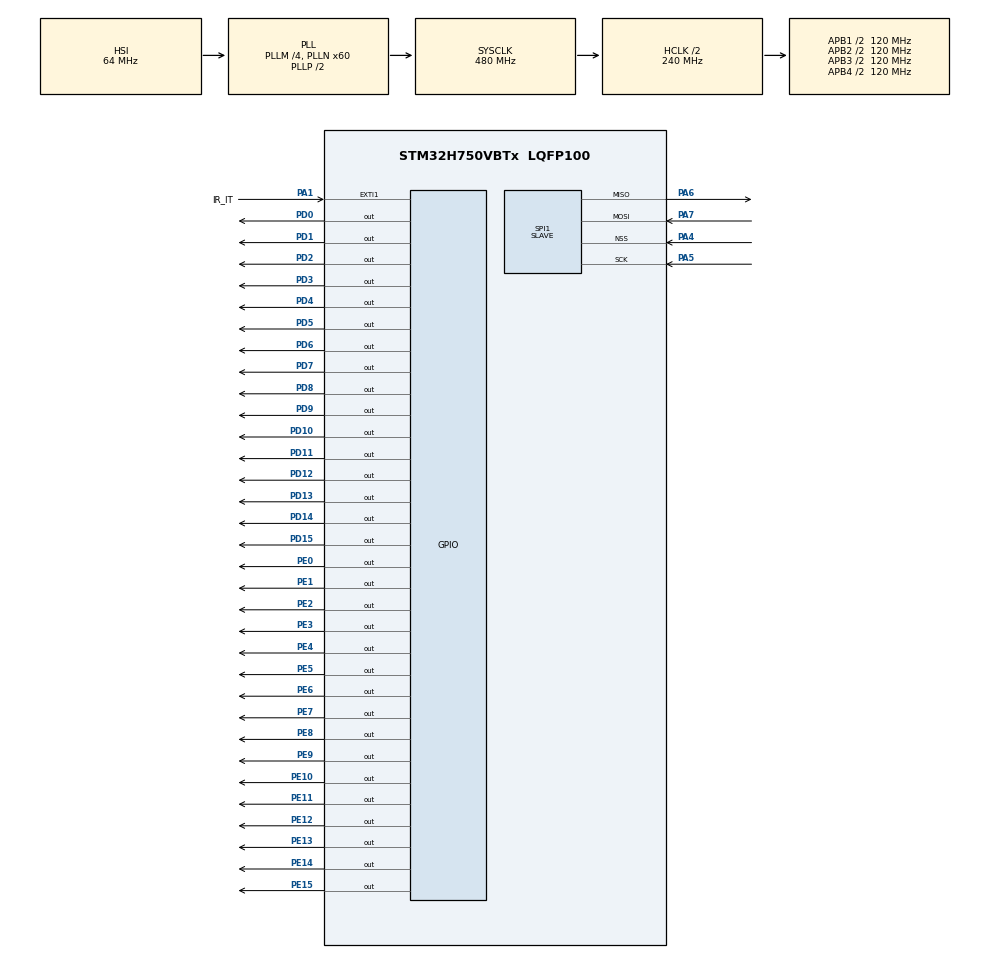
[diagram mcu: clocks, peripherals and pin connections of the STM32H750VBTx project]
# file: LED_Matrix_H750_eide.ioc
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CORTEX_M7.default_mode_Activation=1
Dma.Request0=TIM3_UP
Dma.Request1=TIM8_UP
Dma.TIM3_UP.0.Direction=DMA_MEMORY_TO_PERIPH
Dma.TIM3_UP.0.EventEnable=DISABLE
Dma.TIM3_UP.0.FIFOMode=DMA_FIFOMODE_DISABLE
Dma.TIM3_UP.0.Instance=DMA1_Stream0
Dma.TIM3_UP.0.MemDataAlignment=DMA_MDATAALIGN_HALFWORD
Dma.TIM3_UP.0.MemInc=DMA_MINC_ENABLE
Dma.TIM3_UP.0.Mode=DMA_NORMAL
Dma.TIM3_UP.0.PeriphDataAlignment=DMA_PDATAALIGN_HALFWORD
Dma.TIM3_UP.0.PeriphInc=DMA_PINC_DISABLE
Dma.TIM3_UP.0.Polarity=HAL_DMAMUX_REQ_GEN_RISING
Dma.TIM3_UP.0.Priority=DMA_PRIORITY_VERY_HIGH
Dma.TIM3_UP.0.RequestNumber=1
Dma.TIM3_UP.0.SignalID=NONE
Dma.TIM3_UP.0.SyncEnable=DISABLE
Dma.TIM3_UP.0.SyncPolarity=HAL_DMAMUX_SYNC_NO_EVENT
Dma.TIM3_UP.0.SyncRequestNumber=1
Dma.TIM3_UP.0.SyncSignalID=NONE
Dma.TIM8_UP.1.Direction=DMA_MEMORY_TO_PERIPH
Dma.TIM8_UP.1.EventEnable=DISABLE
Dma.TIM8_UP.1.FIFOMode=DMA_FIFOMODE_DISABLE
Dma.TIM8_UP.1.Instance=DMA1_Stream2
Dma.TIM8_UP.1.MemDataAlignment=DMA_MDATAALIGN_HALFWORD
Dma.TIM8_UP.1.MemInc=DMA_MINC_ENABLE
Dma.TIM8_UP.1.Mode=DMA_NORMAL
Dma.TIM8_UP.1.PeriphDataAlignment=DMA_PDATAALIGN_HALFWORD
Dma.TIM8_UP.1.PeriphInc=DMA_PINC_DISABLE
Dma.TIM8_UP.1.Polarity=HAL_DMAMUX_REQ_GEN_RISING
Dma.TIM8_UP.1.Priority=DMA_PRIORITY_VERY_HIGH
Dma.TIM8_UP.1.RequestNumber=1
Dma.TIM8_UP.1.SignalID=NONE
Dma.TIM8_UP.1.SyncEnable=DISABLE
Dma.TIM8_UP.1.SyncPolarity=HAL_DMAMUX_SYNC_NO_EVENT
Dma.TIM8_UP.1.SyncRequestNumber=1
Dma.TIM8_UP.1.SyncSignalID=NONE
Mcu.Family=STM32H7
Mcu.Name=STM32H750VBTx
Mcu.Package=LQFP100
NVIC.DMA1_Stream0_IRQn=true\:0\:0\:false\:false\:true\:false\:true\:true
NVIC.DMA1_Stream2_IRQn=true\:0\:0\:false\:false\:true\:false\:true\:true
NVIC.EXTI1_IRQn=true\:0\:0\:false\:false\:true\:true\:true\:true
NVIC.PriorityGroup=NVIC_PRIORITYGROUP_4
NVIC.SPI1_IRQn=true\:0\:0\:false\:false\:true\:true\:true\:true
NVIC.TIM2_IRQn=true\:0\:0\:false\:false\:true\:true\:true\:true
PA1.GPIO_Label=IR_IT
PA1.GPIO_ModeDefaultEXTI=GPIO_MODE_IT_RISING
PA1.Signal=GPXTI1
PA13\ (JTMS/SWDIO).Mode=Serial_Wire
PA13\ (JTMS/SWDIO).Signal=DEBUG_JTMS-SWDIO
PA14\ (JTCK/SWCLK).Mode=Serial_Wire
PA14\ (JTCK/SWCLK).Signal=DEBUG_JTCK-SWCLK
PA4.GPIO_Speed=GPIO_SPEED_FREQ_HIGH
PA4.Mode=NSS_Signal_Hard_Input
PA4.Signal=SPI1_NSS
PA5.GPIO_Speed=GPIO_SPEED_FREQ_HIGH
PA5.Mode=Full_Duplex_Slave
PA5.Signal=SPI1_SCK
PA6.GPIO_Speed=GPIO_SPEED_FREQ_HIGH
PA6.Mode=Full_Duplex_Slave
PA6.Signal=SPI1_MISO
PA7.GPIO_Speed=GPIO_SPEED_FREQ_HIGH
PA7.Mode=Full_Duplex_Slave
PA7.Signal=SPI1_MOSI
PD0.GPIO_Speed=GPIO_SPEED_FREQ_VERY_HIGH
PD0.Signal=GPIO_Output
PD1.GPIO_Speed=GPIO_SPEED_FREQ_VERY_HIGH
PD1.Signal=GPIO_Output
PD10.GPIO_Speed=GPIO_SPEED_FREQ_VERY_HIGH
PD10.Signal=GPIO_Output
PD11.GPIO_Speed=GPIO_SPEED_FREQ_VERY_HIGH
PD11.Signal=GPIO_Output
PD12.GPIO_Speed=GPIO_SPEED_FREQ_VERY_HIGH
PD12.Signal=GPIO_Output
PD13.GPIO_Speed=GPIO_SPEED_FREQ_VERY_HIGH
PD13.Signal=GPIO_Output
PD14.GPIO_Speed=GPIO_SPEED_FREQ_VERY_HIGH
PD14.Signal=GPIO_Output
PD15.GPIO_Speed=GPIO_SPEED_FREQ_VERY_HIGH
PD15.Signal=GPIO_Output
PD2.GPIO_Speed=GPIO_SPEED_FREQ_VERY_HIGH
PD2.Signal=GPIO_Output
PD3.GPIO_Speed=GPIO_SPEED_FREQ_VERY_HIGH
PD3.Signal=GPIO_Output
PD4.GPIO_Speed=GPIO_SPEED_FREQ_VERY_HIGH
PD4.Signal=GPIO_Output
PD5.GPIO_Speed=GPIO_SPEED_FREQ_VERY_HIGH
PD5.Signal=GPIO_Output
PD6.GPIO_Speed=GPIO_SPEED_FREQ_VERY_HIGH
PD6.Signal=GPIO_Output
PD7.GPIO_Speed=GPIO_SPEED_FREQ_VERY_HIGH
PD7.Signal=GPIO_Output
PD8.GPIO_Speed=GPIO_SPEED_FREQ_VERY_HIGH
PD8.Signal=GPIO_Output
PD9.GPIO_Speed=GPIO_SPEED_FREQ_VERY_HIGH
PD9.Signal=GPIO_Output
PE0.GPIO_Speed=GPIO_SPEED_FREQ_VERY_HIGH
PE0.Signal=GPIO_Output
PE1.GPIO_Speed=GPIO_SPEED_FREQ_VERY_HIGH
PE1.Signal=GPIO_Output
PE10.GPIO_Speed=GPIO_SPEED_FREQ_VERY_HIGH
PE10.Signal=GPIO_Output
PE11.GPIO_Speed=GPIO_SPEED_FREQ_VERY_HIGH
PE11.Signal=GPIO_Output
PE12.GPIO_Speed=GPIO_SPEED_FREQ_VERY_HIGH
PE12.Signal=GPIO_Output
PE13.GPIO_Speed=GPIO_SPEED_FREQ_VERY_HIGH
PE13.Signal=GPIO_Output
PE14.GPIO_Speed=GPIO_SPEED_FREQ_VERY_HIGH
PE14.Signal=GPIO_Output
PE15.GPIO_Speed=GPIO_SPEED_FREQ_VERY_HIGH
PE15.PinState=GPIO_PIN_SET
PE15.Signal=GPIO_Output
PE2.GPIO_Speed=GPIO_SPEED_FREQ_VERY_HIGH
PE2.Signal=GPIO_Output
PE3.GPIO_Speed=GPIO_SPEED_FREQ_VERY_HIGH
PE3.Signal=GPIO_Output
PE4.GPIO_Speed=GPIO_SPEED_FREQ_VERY_HIGH
PE4.Signal=GPIO_Output
PE5.GPIO_Speed=GPIO_SPEED_FREQ_VERY_HIGH
PE5.Signal=GPIO_Output
PE6.GPIO_Speed=GPIO_SPEED_FREQ_VERY_HIGH
PE6.Signal=GPIO_Output
PE7.GPIO_Speed=GPIO_SPEED_FREQ_VERY_HIGH
PE7.Signal=GPIO_Output
PE8.GPIO_Speed=GPIO_SPEED_FREQ_VERY_HIGH
PE8.Signal=GPIO_Output
PE9.GPIO_Speed=GPIO_SPEED_FREQ_VERY_HIGH
PE9.Signal=GPIO_Output
ProjectManager.HeapSize=0x200
ProjectManager.StackSize=0x400
ProjectManager.TargetToolchain=MDK-ARM V5.32
RCC.ADCFreq_Value=129000000
RCC.APB1Freq_Value=120000000
RCC.APB2Freq_Value=120000000
RCC.APB3Freq_Value=120000000
RCC.APB4Freq_Value=120000000
RCC.CortexFreq_Value=480000000
RCC.D1PPRE=RCC_APB3_DIV2
RCC.D2PPRE1=RCC_APB1_DIV2
RCC.D2PPRE2=RCC_APB2_DIV2
RCC.D3PPRE=RCC_APB4_DIV2
RCC.DIVM1=4
RCC.DIVN1=60
RCC.DIVQ1=5
RCC.HCLKFreq_Value=240000000
RCC.HPRE=RCC_HCLK_DIV2
RCC.HSE_VALUE=12000000
RCC.PLLFRACN=0
RCC.SYSCLKFreq_VALUE=480000000
RCC.SYSCLKSource=RCC_SYSCLKSOURCE_PLLCLK
RCC.USBFreq_Value=192000000
SPI1.CRCCalculation=SPI_CRCCALCULATION_DISABLE
SPI1.DataSize=SPI_DATASIZE_16BIT
SPI1.Direction=SPI_DIRECTION_2LINES
SPI1.Mode=SPI_MODE_SLAVE
SPI1.VirtualNSS=VM_NSSHARD
SPI1.VirtualType=VM_SLAVE
TIM2.AutoReloadPreload=TIM_AUTORELOAD_PRELOAD_ENABLE
TIM2.Period=999999
TIM2.Prescaler=239
TIM3.AutoReloadPreload=TIM_AUTORELOAD_PRELOAD_ENABLE
TIM3.Period=71
TIM3.TIM_MasterOutputTrigger=TIM_TRGO_UPDATE
TIM8.AutoReloadPreload=TIM_AUTORELOAD_PRELOAD_ENABLE
TIM8.Period=71
TIM8.TIM_MasterOutputTrigger=TIM_TRGO_UPDATE
VP_MEMORYMAP_VS_MEMORYMAP.Mode=CurAppReg
VP_TIM2_VS_ClockSourceINT.Mode=Internal
VP_TIM3_VS_ClockSourceINT.Mode=Internal
VP_TIM8_VS_ClockSourceINT.Mode=Internal
board=custom

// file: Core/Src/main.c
/* USER CODE BEGIN Header */
/**
  ******************************************************************************
  * @file           : main.c
  * @brief          : Main program body
  ******************************************************************************
  * @attention
  *
  * Copyright (c) 2026 STMicroelectronics.
  * All rights reserved.
  *
  * This software is licensed under terms that can be found in the LICENSE file
  * in the root directory of this software component.
  * If no LICENSE file comes with this software, it is provided AS-IS.
  *
  ******************************************************************************
  */
/* USER CODE END Header */
#include "main.h"
#include "dma.h"
#include "spi.h"
#include "tim.h"
#include "gpio.h"

/* USER CODE BEGIN Includes */
#include "tim.h"
#include "led_matrix.h"
#include <math.h>
  extern DMA_HandleTypeDef hdma_tim3_up;
  extern DMA_HandleTypeDef hdma_tim8_up;
/* USER CODE END Includes */

/* USER CODE BEGIN PV */
uint8_t currentFrame = 0;       // 当前显示的帧索引 (0-119)
uint8_t refreshFlag = 0;        // 刷新标志，中断触发时设置为1
uint8_t isRefreshing = 0;       // 正在刷新中标志
uint32_t lastIrqTime = 0;       // 上次中断触发时间戳（用于20ms屏蔽）
#define DEBOUNCE_TIME 20         // 触发后屏蔽时间（毫秒）
uint8_t animationFrame = 0;     // 动画帧计数器，用于逐帧显示
uint32_t lastTriggerTime = 0;   // 上次有效中断触发时间（用于计算间隔）
uint32_t irqInterval = 1000;    // 两次中断的时间间隔（毫秒），初始1秒
#define TIM2_CLOCK 1000000       // TIM2经过PSC后的时钟频率（1MHz）
#define FRAME_COUNT (RAW_BUFFER_CYLINDER_NUM * 2)  // 动画总帧数（64帧完成一圈）

// 用于计算平均值的历史数据
#define SAMPLE_COUNT 10          // 取前50次的平均值
uint32_t intervalHistory[50]; // 存储最近50次中断间隔
uint8_t historyIndex = 0;        // 当前存储位置索引
uint8_t sampleCount = 0;         // 当前已有样本数量

typedef enum {
  PATTERN_TEXT = 0,
  PATTERN_CUBE = 1,
  PATTERN_SPHERE = 2,
  PATTERN_DOUBLE_HELIX = 3,
  PATTERN_SATURN = 4,
  PATTERN_RUNNER = 5,
  PATTERN_BIRDCAGE = 6
} PatternType;

static PatternType g_pattern = PATTERN_TEXT;
static const float kHeightToWidth = 2.0f;
static const PatternType kPatternCycle[] = {PATTERN_TEXT, PATTERN_CUBE, PATTERN_SPHERE, PATTERN_DOUBLE_HELIX, PATTERN_SATURN, PATTERN_RUNNER, PATTERN_BIRDCAGE};
static uint8_t g_patternIndex = 0;
static uint32_t g_lastPatternTick = 0;
static uint32_t g_lastFrameTick = 0;
static float g_cubeAngle = 0.0f;
static const float kCubeAngleStep = 0.1745329f;
uint8_t g_brightShift = 6;

// SPI 接收相关
#define SPI_RX_BUFFER_SIZE 10
uint8_t g_spi_rx_buffer[SPI_RX_BUFFER_SIZE];
uint8_t g_spi_rx_flag = 0; // 收到了数据的标志位

/*
注意，当前的显示器设计是RAW_BUFFER_CYLINDER_NUM个RAW切片，每个切片内包含两个数组，分别在各自对面，

这个体积显示器是对称的两个半柱面，所以每个RAW切片的数据会被转换成两个DMA切片，分别输出到GPIOD和GPIOE。
所有RAW切片遍历完一次后，显示器其实只转过了半圈，这时就要调换RAW切片下的AB输出方向，将D和E对调，重新输出。
此外，GPIO下的16个IO对应的是从上到下的16行，每一行里的16个灯对应的是从外到内的16列，所以数组末尾的灯是最内侧的灯。
特别提示，当前每一个像素都是等距分布，也就是说，两个柱面会把图像拉伸。例如要显示正方形，每个半柱面的高是宽的两倍
*/
/* USER CODE END PV */

void SystemClock_Config(void);
static void MPU_Config(void);

/* USER CODE BEGIN 0 */

void HAL_SPI_RxCpltCallback(SPI_HandleTypeDef *hspi) {
  if (hspi->Instance == SPI1) {
    // 标记接收到了数据
    g_spi_rx_flag = 1;

    // 你可以在这里处理 g_spi_rx_buffer 中的数据
    // 例如：判断特定指令，切换模式，等等

    // 重新开启下一次接收
    HAL_SPI_Receive_IT(&hspi1, g_spi_rx_buffer, SPI_RX_BUFFER_SIZE);
  }
}

static uint32_t ledRainbowColor(float phase){
  float r = sinf(phase) * 0.5f + 0.5f;
  float g = sinf(phase + 2.0943951f) * 0.5f + 0.5f;
  float b = sinf(phase + 4.1887902f) * 0.5f + 0.5f;

  uint8_t red = (uint8_t)(r * 255.0f);
  uint8_t green = (uint8_t)(g * 255.0f);
  uint8_t blue = (uint8_t)(b * 255.0f);

  return ((uint32_t)red << 16) | ((uint32_t)green << 8) | blue;
}

static void ledBuildPatternFrames(PatternType pattern){
  memFrameRaw *fillRaw = ledGetFillRaw();

  for (int frameIdx = 0; frameIdx < RAW_BUFFER_CYLINDER_NUM; frameIdx++) {
    ledBufferClearRaw(fillRaw[frameIdx].ledBufferRawA);
    ledBufferClearRaw(fillRaw[frameIdx].ledBufferRawB);

    switch (pattern) {
      case PATTERN_TEXT: {
        // ========== 0. 静态 A2JY09（正反两面各一个） ==========
        const uint8_t font[6][7] = {
          {0x0E, 0x11, 0x11, 0x1F, 0x11, 0x11, 0x11}, // A
          {0x0E, 0x11, 0x02, 0x04, 0x08, 0x10, 0x1F}, // 2
          {0x07, 0x01, 0x01, 0x01, 0x11, 0x11, 0x0E}, // J
          {0x11, 0x11, 0x0A, 0x04, 0x04, 0x04, 0x04}, // Y
          {0x0E, 0x11, 0x13, 0x15, 0x19, 0x11, 0x0E}, // 0
          {0x0E, 0x11, 0x11, 0x0F, 0x01, 0x11, 0x0E}  // 9
        };
        // A面居中: (64-42)/2=11, B面居中: 64+11=75
        int startA = 11, startB = RAW_BUFFER_CYLINDER_NUM + 11;
        int colA = frameIdx;
        int colB = frameIdx + RAW_BUFFER_CYLINDER_NUM;
        for (int io = 0; io < 16; io++) {
          int row = io - 4;
          if (row >= 0 && row < 7) {
            // A面
            int rel_A = colA - startA;
            if (rel_A >= 0 && rel_A < 42) {
              int char_idx = rel_A / 7;
              int x = rel_A % 7;
              if (x < 5 && (font[char_idx][row] & (1 << (4 - x)))) {
                uint32_t color = ledRainbowColor((float)char_idx * 0.8f);
                for (int depth = 0; depth < 3; depth++)
                  ledSetColorOneRaw(fillRaw[frameIdx].ledBufferRawA, depth, io, color);
              }
            }
            // B面 — 同样位置在B侧的偏移
            int rel_B = colB - startB;
            if (rel_B >= 0 && rel_B < 42) {
              int char_idx = rel_B / 7;
              int x = rel_B % 7;
              if (x < 5 && (font[char_idx][row] & (1 << (4 - x)))) {
                uint32_t color = ledRainbowColor((float)char_idx * 0.8f);
                for (int depth = 0; depth < 3; depth++)
                  ledSetColorOneRaw(fillRaw[frameIdx].ledBufferRawB, depth, io, color);
              }
            }
          }
        }
        break;
      }
      case PATTERN_CUBE: {
        // ========== 1. 旋转的渐变立方体 ==========
        const float cubeHalf = 0.75f;
        float theta = g_cubeAngle + (3.1415926f * (float)frameIdx) / (float)RAW_BUFFER_CYLINDER_NUM;
        float c = cosf(theta);
        float s = sinf(theta);
        for (int ledPos = 0; ledPos < ONE_BUS_LED_NUM; ledPos++) {
          float r = 1.0f - ((float)ledPos / 15.0f);
          float x = r * c;
          float y = r * s;
          float ax = fabsf(x);
          float ay = fabsf(y);
          for (int io = 0; io < 16; io++) {
            float z = 1.0f - (2.0f * ((float)io / 15.0f));
            float az = fabsf(z) / kHeightToWidth;
            if ((ax <= cubeHalf) && (ay <= cubeHalf) && (az <= cubeHalf)) {
              float phase = g_cubeAngle + (float)frameIdx * 0.12f + (float)ledPos * 0.35f + (float)io * 0.22f;
              uint32_t color = ledRainbowColor(phase);
              ledSetColorOneRaw(fillRaw[frameIdx].ledBufferRawA, ledPos, io, color);
              ledSetColorOneRaw(fillRaw[frameIdx].ledBufferRawB, ledPos, io, color);
            }
          }
        }
        break;
      }
      case PATTERN_SPHERE: {
        // ========== 2. 旋转的渐变球体 ==========
        const float radius = 0.70f;
        float theta = g_cubeAngle + (3.1415926f * (float)frameIdx) / (float)RAW_BUFFER_CYLINDER_NUM;
        float c = cosf(theta);
        float s = sinf(theta);
        for (int ledPos = 0; ledPos < ONE_BUS_LED_NUM; ledPos++) {
          float r = 1.0f - ((float)ledPos / 15.0f);
          float x = r * c;
          float y = r * s;
          for (int io = 0; io < 16; io++) {
            float z = 1.0f - (2.0f * ((float)io / 15.0f));
            float z_adj = z / kHeightToWidth;
            float dist = sqrtf(x*x + y*y + z_adj*z_adj);
            if (dist <= radius) {
              float phase = dist * 4.0f - g_cubeAngle * 2.0f; // 颜色呈同心圆扩散
              uint32_t color = ledRainbowColor(phase);
              ledSetColorOneRaw(fillRaw[frameIdx].ledBufferRawA, ledPos, io, color);
              ledSetColorOneRaw(fillRaw[frameIdx].ledBufferRawB, ledPos, io, color);
            }
          }
        }
        break;
      }
      case PATTERN_DOUBLE_HELIX: {
        // ========== 3. 双螺旋 (DNA结构) ==========
        float theta = (3.1415926f * (float)frameIdx) / (float)RAW_BUFFER_CYLINDER_NUM;
        for (int io = 0; io < 16; io++) {
          float z = 1.0f - (2.0f * ((float)io / 15.0f));
          // 螺旋的两个极角（高度相关并随着时间旋转）
          float angle1 = z * 3.1415926f + g_cubeAngle * 2.0f;
          float angle2 = angle1 + 3.1415926f; // 对侧螺旋

          for (int ledPos = 0; ledPos < ONE_BUS_LED_NUM; ledPos++) {
            float r = 1.0f - ((float)ledPos / 15.0f);

            // 将点所在的空间角 theta 与两组螺旋角做差
            float d1 = fabsf(sinf((theta - angle1) / 2.0f));
            float d2 = fabsf(sinf((theta - angle2) / 2.0f));

            // 半径在0.6~0.8附近，且角度逼近螺旋角的轨迹被点亮
            if ((r > 0.6f && r < 0.8f) && (d1 < 0.15f || d2 < 0.15f)) {
              float phase = z * 2.0f + g_cubeAngle;
              uint32_t color = ledRainbowColor(phase);
              ledSetColorOneRaw(fillRaw[frameIdx].ledBufferRawA, ledPos, io, color);
              ledSetColorOneRaw(fillRaw[frameIdx].ledBufferRawB, ledPos, io, color);
            }
          }
        }
        break;
      }
      case PATTERN_SATURN: {
        // ========== 4. 行星+光环整体倾斜旋转 ==========
        float tilt = sinf(g_cubeAngle * 0.5f) * 0.75f;
        float ct = cosf(tilt);
        float st = sinf(tilt);
        // A面角度，B面 = A面 + 180°（绕 Z 翻转）
        float thetaA = g_cubeAngle + (3.1415926f * (float)frameIdx) / (float)RAW_BUFFER_CYLINDER_NUM;
        float thetaB = thetaA + 3.1415926f;
        float cA = cosf(thetaA), sA = sinf(thetaA);
        float cB = cosf(thetaB), sB = sinf(thetaB);
        for (int ledPos = 0; ledPos < ONE_BUS_LED_NUM; ledPos++) {
          float r = 1.0f - ((float)ledPos / 15.0f);
          for (int io = 0; io < 16; io++) {
            float z = 1.0f - (2.0f * ((float)io / 15.0f));
            float z_adj = z / kHeightToWidth;
            // ===== A 面 =====
            float xA = r * cA, yA = r * sA;
            float yrA = yA * ct - z_adj * st;
            float zrA = yA * st + z_adj * ct;
            float dist_bodyA = sqrtf(xA * xA + yrA * yrA + zrA * zrA);
            if (dist_bodyA <= 0.35f) {
              float phase = atan2f(yrA, xA) * 2.0f + zrA * 2.0f + g_cubeAngle;
              uint32_t color = ledRainbowColor(phase);
              ledSetColorOneRaw(fillRaw[frameIdx].ledBufferRawA, ledPos, io, color);
            }
            float dist_ringA = sqrtf(xA * xA + yrA * yrA);
            if (dist_ringA >= 0.45f && dist_ringA <= 0.80f && fabsf(zrA) <= 0.10f) {
              float phase = dist_ringA * 5.0f + g_cubeAngle * 2.0f;
              uint32_t color = ledRainbowColor(phase);
              ledSetColorOneRaw(fillRaw[frameIdx].ledBufferRawA, ledPos, io, color);
            }
            // ===== B 面（绕 Z 轴旋转 180° → 显示背面） =====
            float xB = r * cB, yB = r * sB;
            float yrB = yB * ct - z_adj * st;
            float zrB = yB * st + z_adj * ct;
            float dist_bodyB = sqrtf(xB * xB + yrB * yrB + zrB * zrB);
            if (dist_bodyB <= 0.35f) {
              float phase = atan2f(yrB, xB) * 2.0f + zrB * 2.0f + g_cubeAngle;
              uint32_t color = ledRainbowColor(phase);
              ledSetColorOneRaw(fillRaw[frameIdx].ledBufferRawB, ledPos, io, color);
            }
            float dist_ringB = sqrtf(xB * xB + yrB * yrB);
            if (dist_ringB >= 0.45f && dist_ringB <= 0.80f && fabsf(zrB) <= 0.10f) {
              float phase = dist_ringB * 5.0f + g_cubeAngle * 2.0f;
              uint32_t color = ledRainbowColor(phase);
              ledSetColorOneRaw(fillRaw[frameIdx].ledBufferRawB, ledPos, io, color);
            }
          }
        }
        break;
      }
      case PATTERN_RUNNER: {
        // ========== 5. 开合跳 ==========
        float phase = g_cubeAngle * 1.8f;
        float spread = fabsf(sinf(phase));
        float bounce = spread * 0.04f;
        float bodyR = 0.62f, bodyZ = -0.02f;
        float hz = 0.40f + bounce, hr2 = 0.012f;
        float nz = 0.30f + bounce, hpz = -0.14f + bounce;
        float lhx = 0.06f + spread*0.18f, lhz = 0.02f + spread*0.20f;
        float rhx = -0.06f - spread*0.18f, rhz = 0.02f + spread*0.20f;
        float lfx = 0.04f + spread*0.12f, lfz = -0.42f + bounce*0.5f;
        float rfx = -0.04f - spread*0.12f, rfz = -0.42f + bounce*0.5f;
        struct { float ax,ay,az, bx,by,bz; } segs[] = {
          {0,0,nz, 0,0,hpz},
          {0.06f,0,0.26f+bounce, lhx,0,lhz}, {-0.06f,0,0.26f+bounce, rhx,0,rhz},
          {0.04f,0,-0.12f+bounce, lfx,0,lfz}, {-0.04f,0,-0.12f+bounce, rfx,0,rfz},
        };
        // 小人固定在正前方 π/2，不随 frameIdx 移动
        float figAng = 1.5707963f; // π/2
        float cx = bodyR * cosf(figAng);
        float cy = bodyR * sinf(figAng);
        float csA = cosf(figAng), snA = sinf(figAng);
        float theta = (3.1415926f * (float)frameIdx) / (float)RAW_BUFFER_CYLINDER_NUM;
        float ct = cosf(theta), stt = sinf(theta);
        for (int ledPos = 0; ledPos < ONE_BUS_LED_NUM; ledPos++) {
          float r  = 1.0f - ((float)ledPos / 15.0f);
          float px = r * ct, py = r * stt;
          for (int io = 0; io < 16; io++) {
            float pz = (1.0f - (2.0f * ((float)io / 15.0f))) / kHeightToWidth;
            float dx = px - cx, dy = py - cy;
            float lx = -dx*snA + dy*csA;
            float ly =  dx*csA + dy*snA;
            float lz = pz - bodyZ;
            int hit = 0;
            if (lx*lx+ly*ly+(lz-hz)*(lz-hz) <= hr2) hit = 1;
            if (!hit) {
              for (int i = 0; i < 5; i++) {
                float da = segs[i].bx-segs[i].ax, db = segs[i].by-segs[i].ay, dc = segs[i].bz-segs[i].az;
                float len2 = da*da+db*db+dc*dc;
                float t = ((lx-segs[i].ax)*da+(ly-segs[i].ay)*db+(lz-segs[i].az)*dc)/(len2+0.0001f);
                if (t<0.0f)t=0.0f; if(t>1.0f)t=1.0f;
                float scx=segs[i].ax+t*da, scy=segs[i].ay+t*db, scz=segs[i].az+t*dc;
                if ((lx-scx)*(lx-scx)+(ly-scy)*(ly-scy)+(lz-scz)*(lz-scz)<=0.008f) { hit=1; break; }
              }
            }
            if (hit) {
              ledSetColorOneRaw(fillRaw[frameIdx].ledBufferRawA, ledPos, io,
                ledRainbowColor(g_cubeAngle + (float)io * 0.3f));
            }
          }
        }
        break;
      }
      case PATTERN_BIRDCAGE: {
        // ========== 6. 大鹏展翅 ==========
        float S=1.60f,phase=g_cubeAngle*2.8f;
        float sn=sinf(phase);
        float flU=sn>0?sn:0, flD=sn<0?sn:0; // 上/下非对称
        float My=0.30f, Ty=0.24f+flD*0.12f;  // 翼中/尖 y
        float Mz=0.16f+flU*0.02f+flD*0.06f;  // 翼中 z
        float Tz=0.16f+flU*0.06f+flD*0.50f;  // 翼尖 z (大幅)
        // 19段: 体6+喙2+左翼4+右翼4+尾3
        // 每段:{bx,by,bz, ex,ey,ez}
        float seg[][6]={
          // 体 (0-5)
          {-0.20f,0,-0.02f, 0.10f,0,-0.02f},   // 脊线
          {0.10f,0,-0.02f,-0.06f,0, 0.04f},     // 背弧
          {-0.20f,0,-0.02f,-0.06f,0,-0.10f},    // 腹弧
          {0.10f,0,-0.02f, 0.05f,0,-0.08f},     // 胸
          {0.10f,0,-0.02f, 0.20f,0, 0.03f},     // 颈
          {-0.06f,0,-0.02f, 0.05f,0.08f, 0.03f},// 体侧R
          // 喙 (6-7)
          {0.30f,0, 0.05f, 0.48f,0, 0.12f},     // 上喙
          {0.30f,0, 0.02f, 0.44f,0, 0.07f},     // 下喙
          // 左翼 (8-11)
          {0.02f,0,0, 0.0f, My,Mz},              // L1根→中
          {0.0f,My,Mz, -0.12f, Ty,Tz},           // L1中→尖
          {0.02f,0,0, 0.0f, My+0.06f,Mz},        // L2根→中
          {0.0f,My+0.06f,Mz, -0.12f, Ty+0.06f,Tz},// L2中→尖
          // 右翼 (12-15) y 取反
          {0.02f,0,0, 0.0f,-My,Mz},
          {0.0f,-My,Mz, -0.12f,-Ty,Tz},
          {0.02f,0,0, 0.0f,-(My+0.06f),Mz},
          {0.0f,-(My+0.06f),Mz, -0.12f,-(Ty+0.06f),Tz},
          // 尾 (16-18)
          {-0.20f,0,-0.02f,-0.36f,0,0},
          {-0.20f,0,-0.02f,-0.32f, 0.10f,0.04f},
          {-0.20f,0,-0.02f,-0.32f,-0.10f,0.04f},
        };
        int nS=19; float hR2=0.008f, wTh2=0.012f, bTh2=0.007f;
        int showWings=((int)(g_cubeAngle/6.2831852f)&1)==0; // 隔圈显翅
        float th=(3.1415926f*(float)frameIdx)/(float)RAW_BUFFER_CYLINDER_NUM;
        float ct=cosf(th),st=sinf(th);
        for(int ledPos=0;ledPos<ONE_BUS_LED_NUM;ledPos++){
          float r=1.0f-((float)ledPos/15.0f),px=r*ct,py=r*st;
          for(int io=0;io<16;io++){
            float pz=(1.0f-(2.0f*((float)io/15.0f)))/kHeightToWidth;
            // A面
            float sx=px/S,sy=py/S,sz=pz/S;
            int hA=0;
            if(sx*sx+sy*sy+(sz-0.04f)*(sz-0.04f)<=hR2)hA=1;
            if(!hA&&(sx-0.30f)*(sx-0.30f)+sy*sy+(sz-0.08f)*(sz-0.08f)<=0.0012f)hA=1;
            if(!hA)for(int i=0;i<nS;i++){
              if(!showWings&&i>=8&&i<=15)continue;
              float th2=(i<8||i>=16)?bTh2:wTh2;
              float*ss=seg[i];
              float da=ss[3]-ss[0],db=ss[4]-ss[1],dc=ss[5]-ss[2],len2=da*da+db*db+dc*dc;
              float t=((sx-ss[0])*da+(sy-ss[1])*db+(sz-ss[2])*dc)/(len2+0.0001f);
              if(t<0)t=0;if(t>1)t=1;
              float cx=ss[0]+t*da,cy=ss[1]+t*db,cz=ss[2]+t*dc;
              if((sx-cx)*(sx-cx)+(sy-cy)*(sy-cy)+(sz-cz)*(sz-cz)<=th2){hA=1;break;}
            }
            if(hA)ledSetColorOneRaw(fillRaw[frameIdx].ledBufferRawA,ledPos,io,0xFFFFFF);
            // B面(背面)
            float sbx=-sx,sby=-sy,sbz=sz;
            int hB=0;
            if(sbx*sbx+sby*sby+(sbz-0.04f)*(sbz-0.04f)<=hR2)hB=1;
            if(!hB&&(sbx-0.30f)*(sbx-0.30f)+sby*sby+(sbz-0.08f)*(sbz-0.08f)<=0.0012f)hB=1;
            if(!hB)for(int i=0;i<nS;i++){
              if(!showWings&&i>=8&&i<=15)continue;
              float th2=(i<8||i>=16)?bTh2:wTh2;
              float*ss=seg[i];
              float da=ss[3]-ss[0],db=ss[4]-ss[1],dc=ss[5]-ss[2],len2=da*da+db*db+dc*dc;
              float t=((sbx-ss[0])*da+(sby-ss[1])*db+(sbz-ss[2])*dc)/(len2+0.0001f);
              if(t<0)t=0;if(t>1)t=1;
              float cx=ss[0]+t*da,cy=ss[1]+t*db,cz=ss[2]+t*dc;
              if((sbx-cx)*(sbx-cx)+(sby-cy)*(sby-cy)+(sbz-cz)*(sbz-cz)<=th2){hB=1;break;}
            }
            if(hB)ledSetColorOneRaw(fillRaw[frameIdx].ledBufferRawB,ledPos,io,0xFFFFFF);
          }
        }
        break;
      }
      default:
        break;
    }
  }

  ledSwapRawBuffers();

  memFrameRaw *renderRaw = ledGetRenderRaw();
  for (int i = 0; i < DMA_BUFFER_CYLINDER_NUM; i++) {
    ledBufferClearDma(FrameDmaA[i].ledBufferDmaA);
    ledBufferClearDma(FrameDmaA[i].ledBufferDmaB);
    ledBufferRawToDma(&FrameDmaA[i], &renderRaw[i]);

    ledBufferClearDma(FrameDmaB[i].ledBufferDmaA);
    ledBufferClearDma(FrameDmaB[i].ledBufferDmaB);
    ledBufferRawToDma(&FrameDmaB[i], &renderRaw[i + DMA_BUFFER_CYLINDER_NUM]);
  }
}

/* USER CODE END 0 */

int main(void)
{

  /* MPU Configuration--------------------------------------------------------*/
  MPU_Config();

  /* MCU Configuration--------------------------------------------------------*/

  /* Reset of all peripherals, Initializes the Flash interface and the Systick. */
  HAL_Init();

  /* Configure the system clock */
  SystemClock_Config();

  /* Initialize all configured peripherals */
  MX_GPIO_Init();
  MX_DMA_Init();
  MX_TIM3_Init();
  MX_TIM2_Init();
  MX_TIM8_Init();
  MX_SPI1_Init();
  /* USER CODE BEGIN 2 */

  uint16_t g_led_frame[20]={0x0000,0xFFFF,0x0000,0xFFFF,0x0000,0xFFFF,0x0000,0xFFFF,0x0000,0xFFFF,0x0000,0xFFFF,0x0000,0xFFFF,0x0000,0xFFFF,0x0000,0xFFFF,0x0000};

  // 配置DMA回调函数（可选，但建议）
  hdma_tim3_up.XferErrorCallback = Error_Handler;
  hdma_tim8_up.XferErrorCallback = Error_Handler;

  // 启动定时器（必须）
  HAL_TIM_Base_Start(&htim3);
  HAL_TIM_Base_Start(&htim8);
  HAL_TIM_Base_Start_IT(&htim2);

  // 使能定时器DMA请求（必须）
  __HAL_TIM_ENABLE_DMA(&htim3, TIM_DMA_UPDATE);
  __HAL_TIM_ENABLE_DMA(&htim8, TIM_DMA_UPDATE);

  // 初始化LED缓冲区
  ledBufferInit();

  g_patternIndex = 0;
  g_pattern = kPatternCycle[g_patternIndex];
  ledBuildPatternFrames(g_pattern);
  g_lastFrameTick = HAL_GetTick();
  g_lastPatternTick = g_lastFrameTick;

  // 启动第一次 SPI 接收中断
  HAL_SPI_Receive_IT(&hspi1, g_spi_rx_buffer, SPI_RX_BUFFER_SIZE);

  /* USER CODE END 2 */

  /* Infinite loop */
  /* USER CODE BEGIN WHILE */
  while (1)
  {
    uint32_t now = HAL_GetTick();
    if ((now - g_lastFrameTick) >= 50) {
      g_cubeAngle += kCubeAngleStep; // 用于动画时间变量
      if (g_cubeAngle > 6.2831852f) {
        g_cubeAngle -= 6.2831852f;
      }

      uint32_t switchInterval;
      if (g_pattern == PATTERN_TEXT) {
          switchInterval = 8000;
      } else if (g_pattern == PATTERN_SATURN) {
          switchInterval = 12000;
      } else if (g_pattern == PATTERN_RUNNER) {
          switchInterval = 8000;
      } else if (g_pattern == PATTERN_BIRDCAGE) {
          switchInterval = 15000;
      } else {
          switchInterval = 5000;
      }

      // 自动切换图案
      if ((now - g_lastPatternTick) >= switchInterval) {
        g_patternIndex = (g_patternIndex + 1) % 7;
        g_pattern = kPatternCycle[g_patternIndex];
        g_lastPatternTick = now;
      }

      // 文字需要更亮（偏移量越少亮度越高）
      if (g_pattern == PATTERN_TEXT) {
          g_brightShift = 2;  // 文字更亮以提高辨识度
      } else if (g_pattern == PATTERN_RUNNER) {
          g_brightShift = 3;  // 开合跳小人更亮
      } else {
          g_brightShift = 6;  // 内部图形稍暗，避免光晕散开刺眼
      }

      ledBuildPatternFrames(g_pattern);
      g_lastFrameTick = now;
    }

    // 后台任务：动态加载Raw帧到DMA缓冲区
    if (isRefreshing) {
      // 计算需要预加载的帧索引（领先当前显示帧2*DMA_BUFFER_CYLINDER_NUM）
      int preloadFrame = (animationFrame + 2 * DMA_BUFFER_CYLINDER_NUM) % (RAW_BUFFER_CYLINDER_NUM * 2);
      // 转换为Raw帧索引（0-RAW_BUFFER_CYLINDER_NUM-1）
      int rawFrameIdx = preloadFrame % RAW_BUFFER_CYLINDER_NUM;
      // 计算目标DMA缓冲区索引
      int dmaIdx = rawFrameIdx % DMA_BUFFER_CYLINDER_NUM;

      // 确定目标缓冲区（与当前使用的缓冲区相反）
      memFrameDma *targetDma;
      if (rawFrameIdx < DMA_BUFFER_CYLINDER_NUM) {
        targetDma = &FrameDmaA[dmaIdx];
      } else {
        targetDma = &FrameDmaB[dmaIdx];
      }

      memFrameRaw *currentRenderRaw = ledGetRenderRaw();
      // 从Raw缓冲区转换到DMA缓冲区
      ledBufferClearDma(targetDma->ledBufferDmaA);
      ledBufferClearDma(targetDma->ledBufferDmaB);
      ledBufferRawToDma(targetDma, &currentRenderRaw[rawFrameIdx]);
    }

    // 待机状态：可以添加低功耗处理或其他任务
    HAL_Delay(10);
    /* USER CODE END WHILE */

  }
}

void SystemClock_Config(void)
{
  RCC_OscInitTypeDef RCC_OscInitStruct = {0};
  RCC_ClkInitTypeDef RCC_ClkInitStruct = {0};

  /** Supply configuration update enable
  */
  HAL_PWREx_ConfigSupply(PWR_LDO_SUPPLY);

  /** Configure the main internal regulator output voltage
  */
  __HAL_PWR_VOLTAGESCALING_CONFIG(PWR_REGULATOR_VOLTAGE_SCALE0);

  while(!__HAL_PWR_GET_FLAG(PWR_FLAG_VOSRDY)) {}

  /** Initializes the RCC Oscillators according to the specified parameters
  * in the RCC_OscInitTypeDef structure.
  */
  RCC_OscInitStruct.OscillatorType = RCC_OSCILLATORTYPE_HSI;
  RCC_OscInitStruct.HSIState = RCC_HSI_DIV1;
  RCC_OscInitStruct.HSICalibrationValue = RCC_HSICALIBRATION_DEFAULT;
  RCC_OscInitStruct.PLL.PLLState = RCC_PLL_ON;
  RCC_OscInitStruct.PLL.PLLSource = RCC_PLLSOURCE_HSI;
  RCC_OscInitStruct.PLL.PLLM = 4;
  RCC_OscInitStruct.PLL.PLLN = 60;
  RCC_OscInitStruct.PLL.PLLP = 2;
  RCC_OscInitStruct.PLL.PLLQ = 5;
  RCC_OscInitStruct.PLL.PLLR = 2;
  RCC_OscInitStruct.PLL.PLLRGE = RCC_PLL1VCIRANGE_3;
  RCC_OscInitStruct.PLL.PLLVCOSEL = RCC_PLL1VCOWIDE;
  RCC_OscInitStruct.PLL.PLLFRACN = 0;
  if (HAL_RCC_OscConfig(&RCC_OscInitStruct) != HAL_OK)
  {
    Error_Handler();
  }

  /** Initializes the CPU, AHB and APB buses clocks
  */
  RCC_ClkInitStruct.ClockType = RCC_CLOCKTYPE_HCLK|RCC_CLOCKTYPE_SYSCLK
                              |RCC_CLOCKTYPE_PCLK1|RCC_CLOCKTYPE_PCLK2
                              |RCC_CLOCKTYPE_D3PCLK1|RCC_CLOCKTYPE_D1PCLK1;
  RCC_ClkInitStruct.SYSCLKSource = RCC_SYSCLKSOURCE_PLLCLK;
  RCC_ClkInitStruct.SYSCLKDivider = RCC_SYSCLK_DIV1;
  RCC_ClkInitStruct.AHBCLKDivider = RCC_HCLK_DIV2;
  RCC_ClkInitStruct.APB3CLKDivider = RCC_APB3_DIV2;
  RCC_ClkInitStruct.APB1CLKDivider = RCC_APB1_DIV2;
  RCC_ClkInitStruct.APB2CLKDivider = RCC_APB2_DIV2;
  RCC_ClkInitStruct.APB4CLKDivider = RCC_APB4_DIV2;

  if (HAL_RCC_ClockConfig(&RCC_ClkInitStruct, FLASH_LATENCY_4) != HAL_OK)
  {
    Error_Handler();
  }
}

/* USER CODE BEGIN 4 */

void HAL_GPIO_EXTI_Callback(uint16_t GPIO_Pin)
{
  if (GPIO_Pin == IR_IT_Pin)
  {
    // 获取当前时间戳
    uint32_t currentTime = HAL_GetTick();

    // 检查是否在20ms屏蔽期内（上次触发后20ms内忽略新触发）
    // 如果是第一次触发（lastIrqTime为0），则立即处理
    if (lastIrqTime == 0 || (currentTime - lastIrqTime) >= DEBOUNCE_TIME)
    {
      // 更新上次触发时间（用于20ms屏蔽期）
      lastIrqTime = currentTime;

      // 计算与上一次有效触发的时间间隔
      if (lastTriggerTime != 0)
      {
        uint32_t currentInterval = currentTime - lastTriggerTime;

        // 将当前间隔存入历史数组（环形缓冲区）
        intervalHistory[historyIndex] = currentInterval;
        historyIndex = (historyIndex + 1) % SAMPLE_COUNT;

        // 更新样本数量（最多SAMPLE_COUNT个）
        if (sampleCount < SAMPLE_COUNT)
        {
          sampleCount++;
        } else
        {
          // 如果是第一次触发，则将当前间隔存入历史数组
          intervalHistory[historyIndex] = currentInterval;
          historyIndex = (historyIndex + 1) % SAMPLE_COUNT;

          // 初始化样本数量为1
          sampleCount = 1;
        }

        // 计算前N次的平均值
        uint32_t sum = 0;
        for (uint8_t i = 0; i < sampleCount; i++)
        {
          sum += intervalHistory[i];
        }
        irqInterval = sum / sampleCount;
      }

      // 更新上一次有效触发时间
      lastTriggerTime = currentTime;

      // 计算新的TIM2 ARR值，使动画在平均间隔时间内完成
      // ARR = (平均间隔时间(ms) * 1000) / FRAME_COUNT - 1
      // 确保ARR至少为1（避免除零或负数）
      uint32_t newArr = (irqInterval * 1000) / FRAME_COUNT;
      if (newArr < 1) newArr = 1;
      newArr -= 1; // TIM计数器从0开始，所以减1

      // 更新TIM2的ARR值
      __HAL_TIM_SET_AUTORELOAD(&htim2, newArr);

      // 重置动画状态，立即重新开始渲染
      animationFrame = 0;
      isRefreshing = 1;
    }
  }
}

void HAL_TIM_PeriodElapsedCallback(TIM_HandleTypeDef *htim)
{
  if (htim->Instance == TIM2)
  {
    // 检查是否正在刷新动画
    if (isRefreshing)
    {
      // 计算当前阶段（0=前半圈AB模式, 1=后半圈BA模式）
      uint8_t phase = (animationFrame < RAW_BUFFER_CYLINDER_NUM) ? 0 : 1;
      // 计算当前帧在阶段内的索引（0-RAW_BUFFER_CYLINDER_NUM-1循环）
      int frameIdx = animationFrame % RAW_BUFFER_CYLINDER_NUM;

      // 根据帧索引选择缓冲区（使用取模实现循环）
      memFrameDma *currentFrame;
      int dmaIdx = frameIdx % DMA_BUFFER_CYLINDER_NUM;
      if (frameIdx < DMA_BUFFER_CYLINDER_NUM) {
        // 使用FrameDmaA
        currentFrame = &FrameDmaA[dmaIdx];
      } else {
        // 使用FrameDmaB
        currentFrame = &FrameDmaB[dmaIdx];
      }

      // 输出模式：前半圈AB模式，后半圈BA模式
      uint8_t outputMode = phase;
      ledPushGPIO(currentFrame, outputMode);

      // 更新动画帧计数器
      animationFrame++;

      // 检查是否播放完毕（2*RAW_BUFFER_CYLINDER_NUM帧完成一圈）
      if (animationFrame >= RAW_BUFFER_CYLINDER_NUM * 2)
      {
        // 刷新完成
        isRefreshing = 0;
        animationFrame = 0;
      }
    }
  }
}

/* USER CODE END 4 */

 /* MPU Configuration */

void MPU_Config(void)
{
  MPU_Region_InitTypeDef MPU_InitStruct = {0};

  /* Disables the MPU */
  HAL_MPU_Disable();

  /** Initializes and configures the Region and the memory to be protected
  */
  MPU_InitStruct.Enable = MPU_REGION_ENABLE;
  MPU_InitStruct.Number = MPU_REGION_NUMBER0;
  MPU_InitStruct.BaseAddress = 0x0;
  MPU_InitStruct.Size = MPU_REGION_SIZE_4GB;
  MPU_InitStruct.SubRegionDisable = 0x87;
  MPU_InitStruct.TypeExtField = MPU_TEX_LEVEL0;
  MPU_InitStruct.AccessPermission = MPU_REGION_NO_ACCESS;
  MPU_InitStruct.DisableExec = MPU_INSTRUCTION_ACCESS_DISABLE;
  MPU_InitStruct.IsShareable = MPU_ACCESS_SHAREABLE;
  MPU_InitStruct.IsCacheable = MPU_ACCESS_NOT_CACHEABLE;
  MPU_InitStruct.IsBufferable = MPU_ACCESS_NOT_BUFFERABLE;

  HAL_MPU_ConfigRegion(&MPU_InitStruct);
  /* Enables the MPU */
  HAL_MPU_Enable(MPU_PRIVILEGED_DEFAULT);

}

void Error_Handler(void)
{
  __disable_irq();
  while (1)
  {
  }
}
